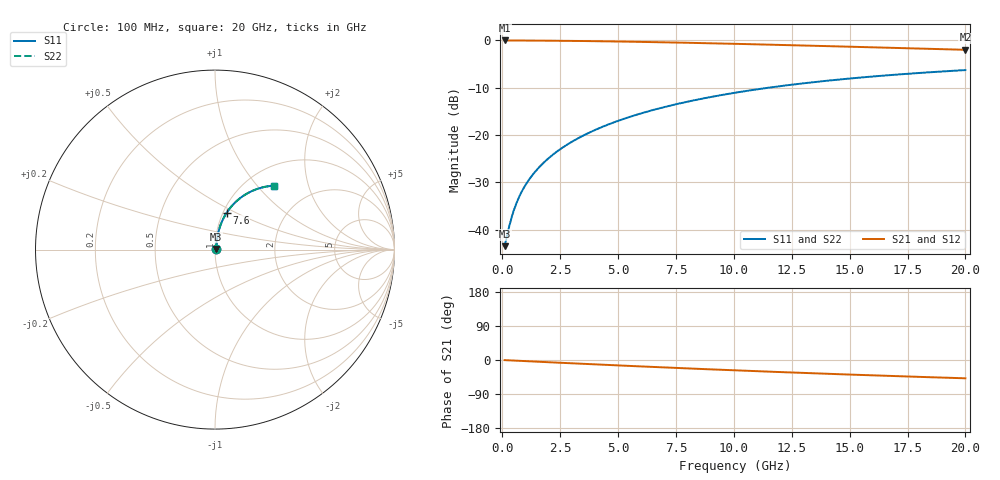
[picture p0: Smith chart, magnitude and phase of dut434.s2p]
! Touchstone file exported from HFSS 2024.1.0
!  File:  C:/UserFiles/LocalFiles/RDL_TSV_Batchsim/temp_RDL_top_434_1779676471.aedt
!  Generated:  10:36:53 AM May 25, 2026
!  Design:  RDL_top
!  Project:  temp_RDL_top_434_1779676471
!  Setup:  Setup1
!  Solution:  Sweep
! Variables:
!  dtsv = 10.80580581um
!  hbump = 3um
!  htsv = 95.97um
!  ldown = 100um
!  lrdl = 616.94um
!  p = 40
!  p1 = 56.95um
!  rhole = 1um
!  t = 450um
!  tdown = 3.915915916um
!  trdl = 2.09um
!  wdown = 15.38538539um
!  wrdl = 17.92um
# GHz S MA R 50.000000
! Terminal data exported
! Port[1] = Box2_T1
! Port[2] = Box2_T2
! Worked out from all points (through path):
!   200 points, 100 MHz to 20 GHz, reference 50 ohm
!   highest |S21| = -0.05 dB at 100 MHz (marker M1); lowest = -2.0 dB at 20 GHz (marker M2)
!   group delay of S21, straight-line fit = 6.7 ps
!   lowest |S11| = -43.4 dB at 100 MHz (marker M3), VSWR 1.01, Z = 50.6 + j0.303 ohm
!   |S11| at or under -10 dB: start of sweep to 11.52 GHz
!   |S22| runs from -43.4 to -6.3 dB; largest |S21 - S12| = 4e-15
!   S11 on the Smith chart (normalised r, x): 100 MHz: 1.01, +0.01; 7.6 GHz: 1.04, +0.45; 20 GHz: 1.32, +1.23
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0.1  0.006742 26.4  0.994 -0.3  0.994 -0.3  0.006742 26.4
! Gamma 0 0 0 0
! Port Impedance 50 0 50 0
0.3  0.01092 54.7  0.9937 -0.9  0.9937 -0.9  0.01092 54.7
0.4  0.01349 61.1  0.9935 -1.2  0.9935 -1.2  0.01349 61.1
0.5  0.01615 65.3  0.9932 -1.5  0.9932 -1.5  0.01615 65.3
0.6  0.01884 68.2  0.993 -1.8  0.993 -1.8  0.01884 68.2
0.7  0.02155 70.4  0.9927 -2.1  0.9927 -2.1  0.02155 70.4
0.9  0.02697 73.3  0.9921 -2.7  0.9921 -2.7  0.02697 73.3
1.2  0.03512 75.9  0.9913 -3.6  0.9913 -3.6  0.03511 75.9
1.4  0.04057 77.0  0.9906 -4.1  0.9906 -4.1  0.04057 77.0
1.7  0.04878 78.1  0.9896 -5.0  0.9896 -5.0  0.04878 78.1
2.2  0.06258 79.0  0.9875 -6.4  0.9875 -6.4  0.06258 79.0
2.8  0.07927 79.3  0.9846 -8.1  0.9846 -8.1  0.07927 79.3
3.5  0.09888 79.0  0.9804 -10.1  0.9804 -10.1  0.09889 79.0
4.2  0.1186 78.3  0.9756 -12.1  0.9756 -12.1  0.1186 78.3
5  0.1412 77.2  0.9692 -14.3  0.9692 -14.3  0.1412 77.2
5.9  0.1666 75.8  0.9612 -16.7  0.9612 -16.7  0.1666 75.8
6.8  0.1918 74.1  0.9524 -19.1  0.9524 -19.1  0.1918 74.1
7.6  0.214 72.5  0.944 -21.2  0.944 -21.2  0.214 72.5
10.1  0.2807 67.3  0.9154 -27.4  0.9154 -27.4  0.2807 67.3
13.4  0.3601 60.2  0.8744 -35.0  0.8744 -35.0  0.3602 60.2
16.7  0.4279 53.5  0.8327 -41.9  0.8327 -41.9  0.428 53.5
20  0.4842 47.3  0.7925 -48.3  0.7925 -48.3  0.4843 47.3
